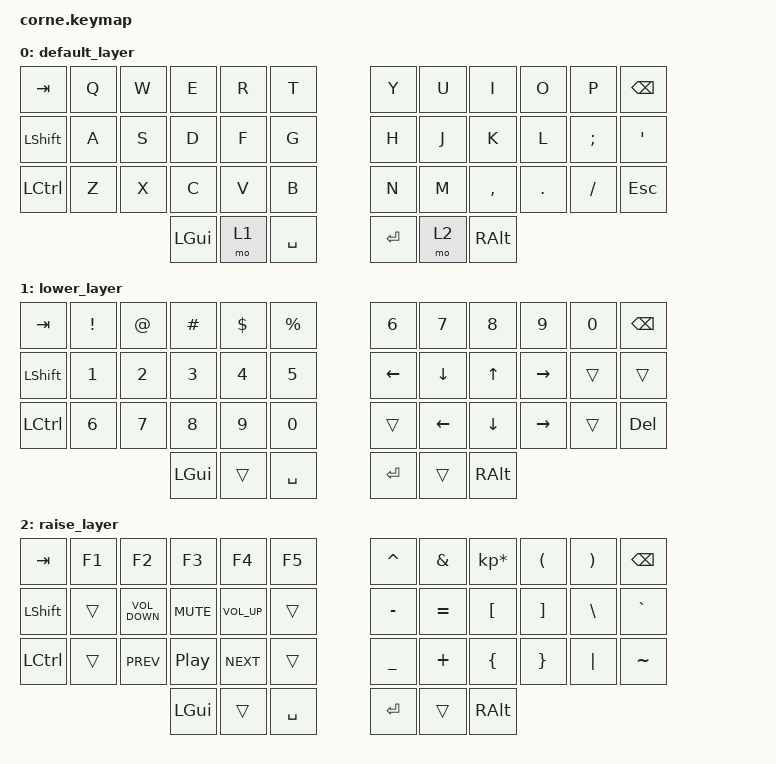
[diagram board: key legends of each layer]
#include <behaviors.dtsi>
#include <dt-bindings/zmk/keys.h>

/ {
    keymap {
        compatible = "zmk,keymap";

        default_layer {
            // -----------------------------------------------------------------------------------------
            // |  TAB |  Q  |  W  |  E  |  R  |  T  |   |  Y  |  U   |  I  |  O  |  P  | BKSP |
            // | CTRL |  A  |  S  |  D  |  F  |  G  |   |  H  |  J   |  K  |  L  |  ;  |  '   |
            // | SHFT |  Z  |  X  |  C  |  V  |  B  |   |  N  |  M   |  ,  |  .  |  /  | ESC  |
            //                    | GUI | LWR | SPC |   | ENT | RSE  | ALT |

            bindings = <
&kp TAB    &kp Q  &kp W  &kp E     &kp R  &kp T        &kp Y    &kp U  &kp I      &kp O    &kp P     &kp BSPC
&kp LSHFT  &kp A  &kp S  &kp D     &kp F  &kp G        &kp H    &kp J  &kp K      &kp L    &kp SEMI  &kp SQT
&kp LCTRL  &kp Z  &kp X  &kp C     &kp V  &kp B        &kp N    &kp M  &kp COMMA  &kp DOT  &kp FSLH  &kp ESC
                         &kp LGUI  &mo 1  &kp SPACE    &kp RET  &mo 2  &kp RALT
            >;
        };

        lower_layer {
            // -----------------------------------------------------------------------------------------
            // |  TAB |  1  |  2  |  3  |  4  |  5  |   |  6  |  7  |  8  |  9  |  0  | BKSP |
            // | BTCLR| BT1 | BT2 | BT3 | BT4 | BT5 |   | LFT | DWN |  UP | RGT |     |      |
            // | SHFT |     |     |     |     |     |   |     |     |     |     |     |      |
            //                    | GUI |     | SPC |   | ENT |     | ALT |

            bindings = <
&kp TAB    &kp EXCL      &kp AT        &kp HASH      &kp DOLLAR    &kp PERCENT     &kp N6    &kp N7          &kp N8          &kp N9     &kp N0  &kp BSPC
&kp LSHFT  &kp NUMBER_1  &kp NUMBER_2  &kp NUMBER_3  &kp NUMBER_4  &kp N5          &kp LEFT  &kp DOWN        &kp UP          &kp RIGHT  &trans  &trans
&kp LCTRL  &kp NUMBER_6  &kp NUMBER_7  &kp NUMBER_8  &kp NUMBER_9  &kp NUMBER_0    &trans    &kp LEFT_ARROW  &kp DOWN_ARROW  &kp RIGHT  &trans  &kp DELETE
                                       &kp LGUI      &trans        &kp SPACE       &kp RET   &trans          &kp RALT
            >;
        };

        raise_layer {
            // -----------------------------------------------------------------------------------------
            // |  TAB |  !  |  @  |  #  |  $  |  %  |   |  ^  |  &  |  *  |  (  |  )  | BKSP |
            // | CTRL |     |     |     |     |     |   |  -  |  =  |  [  |  ]  |  \  |  `   |
            // | SHFT |     |     |     |     |     |   |  _  |  +  |  {  |  }  | "|" |  ~   |
            //                    | GUI |     | SPC |   | ENT |     | ALT |

            bindings = <
&kp TAB    &kp F1  &kp F2             &kp F3            &kp F4           &kp F5       &kp CARET  &kp AMPS   &kp KP_MULTIPLY  &kp LPAR  &kp RPAR  &kp BSPC
&kp LSHFT  &trans  &kp C_VOLUME_DOWN  &kp C_MUTE        &kp C_VOLUME_UP  &trans       &kp MINUS  &kp EQUAL  &kp LBKT         &kp RBKT  &kp BSLH  &kp GRAVE
&kp LCTRL  &trans  &kp C_PREV         &kp C_PLAY_PAUSE  &kp C_NEXT       &trans       &kp UNDER  &kp PLUS   &kp LBRC         &kp RBRC  &kp PIPE  &kp TILDE
                                      &kp LGUI          &trans           &kp SPACE    &kp RET    &trans     &kp RALT
            >;
        };
    };
};
